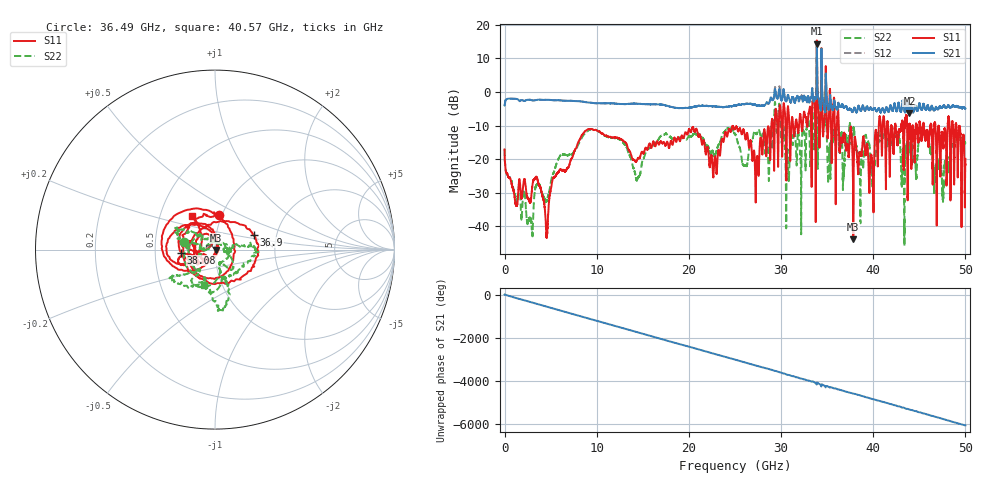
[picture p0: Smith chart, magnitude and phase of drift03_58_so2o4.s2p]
!Created with skrf (http://scikit-rf.org).
# Hz S RI R 50.0
!freq ReS11 ImS11 ReS21 ImS21 ReS12 ImS12 ReS22 ImS22
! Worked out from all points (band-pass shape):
!   10001 points, 300 kHz to 50 GHz, reference 50 ohm
!   highest |S21| = 14.41 dB at 33.88 GHz (marker M1); lowest = -6.2 dB at 43.93 GHz (marker M2)
!   |S21| within 3 dB of the highest: 33.86904 GHz to 33.88832 GHz (19.27 MHz wide, 0.0569 % of centre); 34.37679 GHz to 34.38885 GHz (12.06 MHz wide, 0.0351 % of centre)
!   lowest |S11| = -44.0 dB at 37.84 GHz (marker M3), VSWR 1.01, Z = 50.6 - j0.262 ohm
!   |S11| at or under -10 dB: start of sweep to 28.94 GHz; 36.27 GHz to 40.6 GHz (4.338 GHz wide, 11.3 % of centre); 46.74 GHz to 48.08 GHz (1.337 GHz wide, 2.82 % of centre) (the widest 3 of 56)
!   |S22| runs from -46.0 to 11.3 dB; largest |S21 - S12| = 0.81
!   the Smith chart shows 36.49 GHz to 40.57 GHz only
!   S11 on the Smith chart (normalised r, x): 36.49 GHz: 0.97, +0.39; 36.9 GHz: 1.53, +0.27; 38.08 GHz: 0.68, -0.02; 40.57 GHz: 0.72, +0.29
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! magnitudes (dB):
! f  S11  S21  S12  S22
! 300 kHz  -17.1  -4.0  -4.1  -17.0
! 2.82 GHz  -32.7  -2.4  -2.4  -38.1
! 4.555 GHz  -43.4  -2.3  -2.3  -32.4
! 8.335 GHz  -13.1  -2.8  -2.8  -13.9
! 14.44 GHz  -19.9  -3.5  -3.5  -26.0
! 16.67 GHz  -15.4  -3.7  -3.7  -14.3
! 22.82 GHz  -19.3  -4.3  -4.3  -19.2
! 25 GHz  -10.9  -4.0  -4.0  -12.5
! 26.09 GHz  -13.7  -3.6  -3.6  -21.9
! 27.39 GHz  -19.4  -4.1  -4.1  -12.4
! 29.6 GHz  -10.5  -2.0  -2.1  -11.7
! 30.7 GHz  -5.7  -1.4  -1.5  -17.3
! 33.34 GHz  -14.5  -0.4  -0.5  -7.0
! 33.88 GHz  15.4  14.4  14.1  10.9
! 36.49 GHz  -14.3  -4.4  -4.4  -14.9
! 36.9 GHz  -12.6  -4.6  -4.6  -20.3
! 37.84 GHz  -44.0  -5.5  -5.5  -11.0
! 38.08 GHz  -14.4  -5.5  -5.5  -16.8
! 40.57 GHz  -12.8  -4.8  -4.9  -13.6
! 41.67 GHz  -12.1  -5.9  -5.9  -14.9
! 43.93 GHz  -9.8  -6.2  -6.2  -16.6
! 50 GHz  -20.0  -4.9  -4.9  -15.1
